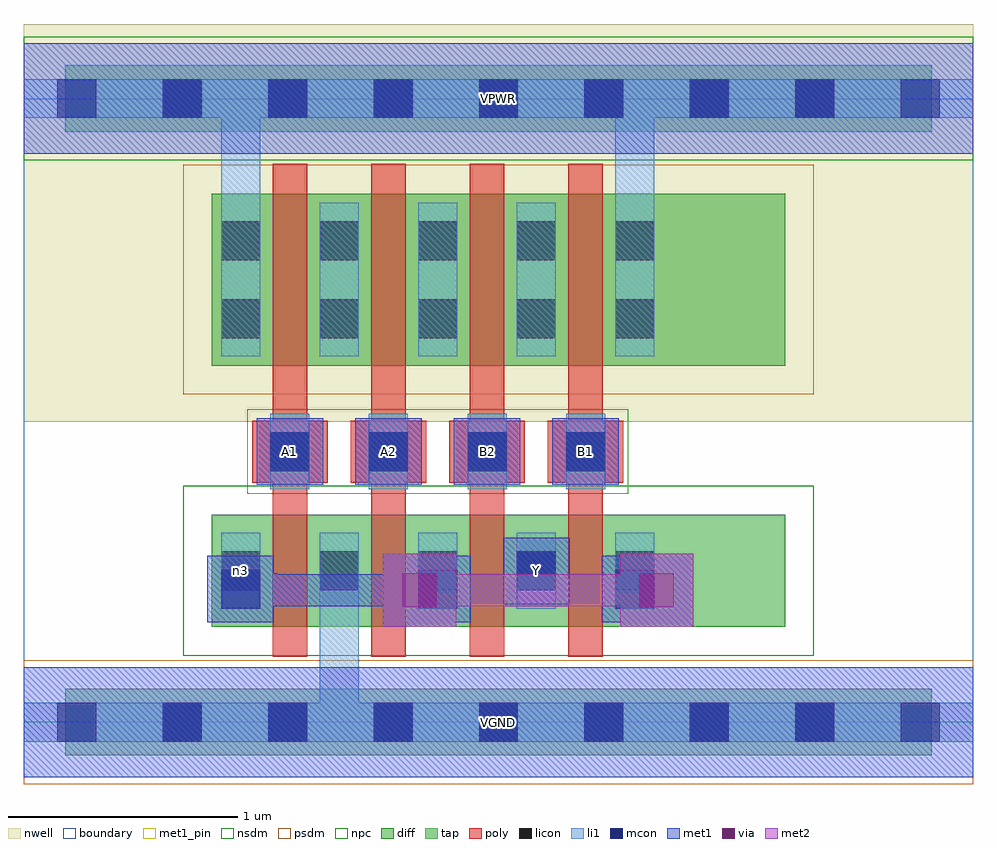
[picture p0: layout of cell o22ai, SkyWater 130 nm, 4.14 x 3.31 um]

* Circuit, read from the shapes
.subckt o22ai A1 A2 B1 B2 VGND VPWR Y n3
XM1 VGND A1 n3 VGND sky130_fd_pr__nfet_01v8 w=0.49 l=0.15
XM2 n3 A2 VGND VGND sky130_fd_pr__nfet_01v8 w=0.49 l=0.15
XM3 Y B2 n3 VGND sky130_fd_pr__nfet_01v8 w=0.49 l=0.15
XM4 n3 B1 Y VGND sky130_fd_pr__nfet_01v8 w=0.49 l=0.15
XM5 n1 A1 VPWR VPWR sky130_fd_pr__pfet_01v8 w=0.75 l=0.15
XM6 n2 A2 n1 VPWR sky130_fd_pr__pfet_01v8 w=0.75 l=0.15
XM7 n4 B2 n2 VPWR sky130_fd_pr__pfet_01v8 w=0.75 l=0.15
XM8 VPWR B1 n4 VPWR sky130_fd_pr__pfet_01v8 w=0.75 l=0.15
.ends

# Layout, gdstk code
import gdstk
lib = gdstk.Library(unit=1e-6, precision=1e-09)
def R(c, l, rs):  # rectangles x0, y0, x1, y1
    for r in rs: c.add(gdstk.rectangle(r[:2], r[2:], *l))
def A(c, l, x, y, w, h, nx, ny, dx, dy):  # array of equal rectangles
    R(c, l, [(x+i*dx, y+j*dy, x+i*dx+w, y+j*dy+h) for i in range(nx) for j in range(ny)])
nwell = (64, 20)
diff = (65, 20)
tap = (65, 44)
poly = (66, 20)
licon = (66, 44)
li1 = (67, 20)
mcon = (67, 44)
met1_pin = (68, 16)
met1 = (68, 20)
via = (68, 44)
met2 = (69, 20)
nsdm = (93, 44)
psdm = (94, 20)
npc = (95, 20)
boundary = (235, 4)

o22ai = lib.new_cell('o22ai')
R(o22ai, nwell, [(0,1.31,4.14,3.045)])
R(o22ai, diff, [(0.82,0.415,3.32,0.905), (0.82,1.555,3.32,2.305)])
R(o22ai, tap, [(0.18,-0.145,3.96,0.145), (0.18,2.575,3.96,2.865)])
A(o22ai, poly, 1.085, 0.285, 0.15, 2.15, 4, 1, 0.43, 0)
A(o22ai, poly, 0.995, 1.045, 0.33, 0.27, 4, 1, 0.43, 0)
A(o22ai, licon, 0.605, -0.085, 0.17, 0.17, 7, 2, 0.46, 2.72)
A(o22ai, licon, 0.86, 0.575, 0.17, 0.17, 5, 2, 0.43, 1.1)
A(o22ai, licon, 1.075, 1.095, 0.17, 0.17, 4, 1, 0.43, 0)
A(o22ai, licon, 0.86, 2.015, 0.17, 0.17, 5, 1, 0.43, 0)
A(o22ai, li1, 0.86, 0.495, 0.17, 0.33, 5, 1, 0.43, 0)
A(o22ai, li1, 1.075, 1.015, 0.17, 0.33, 4, 1, 0.43, 0)
A(o22ai, li1, 0.86, 1.595, 0.17, 0.67, 5, 1, 0.43, 0)
R(o22ai, li1, [(0,-0.085,4.14,0.085), (1.29,-0.085,1.46,0.825), (0.86,1.595,1.03,2.805), (2.58,1.595,2.75,2.805), (0,2.635,4.14,2.805)])
A(o22ai, mcon, 0.145, -0.085, 0.17, 0.17, 9, 2, 0.46, 2.72)
A(o22ai, mcon, 0.86, 0.495, 0.17, 0.17, 3, 1, 0.86, 0)
A(o22ai, mcon, 1.075, 1.095, 0.17, 0.17, 4, 1, 0.43, 0)
R(o22ai, mcon, [(2.15,0.575,2.32,0.745)])
A(o22ai, met1_pin, 1.015, 1.035, 0.29, 0.29, 4, 1, 0.43, 0)
R(o22ai, met1_pin, [(0,-0.24,4.14,0.24), (2.09,0.515,2.38,0.805), (0,2.48,4.14,2.96)])
A(o22ai, met1, 0.8, 0.435, 0.29, 0.29, 3, 1, 0.86, 0)
A(o22ai, met1, 1.015, 1.035, 0.29, 0.29, 4, 1, 0.43, 0)
R(o22ai, met1, [(0,-0.24,4.14,0.24), (1.565,0.415,1.885,0.735), (2.6,0.415,2.92,0.735), (0.965,0.505,1.105,0.65), (0.965,0.505,1.795,0.645), (1.655,0.505,1.795,0.65), (2.69,0.505,2.83,0.65), (0.875,0.51,1.105,0.65), (1.655,0.51,1.875,0.65), (2.595,0.51,2.83,0.65), (2.09,0.515,2.38,0.805), (0,2.48,4.14,2.96)])
R(o22ai, via, [(1.65,0.5,1.8,0.65), (2.685,0.5,2.835,0.65)])
R(o22ai, met2, [(1.565,0.415,1.885,0.735), (2.6,0.415,2.92,0.735), (1.655,0.505,2.83,0.645)])
R(o22ai, nsdm, [(0.695,0.29,3.445,1.03), (0,2.45,4.14,2.99)])
R(o22ai, psdm, [(0,-0.27,4.14,0.27), (0.695,1.43,3.445,2.43)])
R(o22ai, npc, [(0.975,0.995,2.635,1.365)])
R(o22ai, boundary, [(0,0,4.14,2.72)])
o22ai.add(gdstk.Label('n3', (0.945,0.66), layer=67, texttype=5))
o22ai.add(gdstk.Label('A1', (1.16,1.18), layer=68, texttype=5))
o22ai.add(gdstk.Label('A2', (1.59,1.18), layer=68, texttype=5))
o22ai.add(gdstk.Label('B1', (2.45,1.18), layer=68, texttype=5))
o22ai.add(gdstk.Label('B2', (2.02,1.18), layer=68, texttype=5))
o22ai.add(gdstk.Label('Y', (2.235,0.66), layer=68, texttype=5))
o22ai.add(gdstk.Label('VPWR', (2.07,2.72), layer=68, texttype=5))
o22ai.add(gdstk.Label('VGND', (2.07,0), layer=68, texttype=5))
o22ai.add(gdstk.Label('A1', (1.16,1.18), layer=68, texttype=16))
o22ai.add(gdstk.Label('A2', (1.59,1.18), layer=68, texttype=16))
o22ai.add(gdstk.Label('B1', (2.45,1.18), layer=68, texttype=16))
o22ai.add(gdstk.Label('B2', (2.02,1.18), layer=68, texttype=16))
o22ai.add(gdstk.Label('Y', (2.235,0.66), layer=68, texttype=16))
o22ai.add(gdstk.Label('VPWR', (2.07,2.72), layer=68, texttype=16))
o22ai.add(gdstk.Label('VGND', (2.07,0), layer=68, texttype=16))

lib.write_gds('o22ai.gds')
